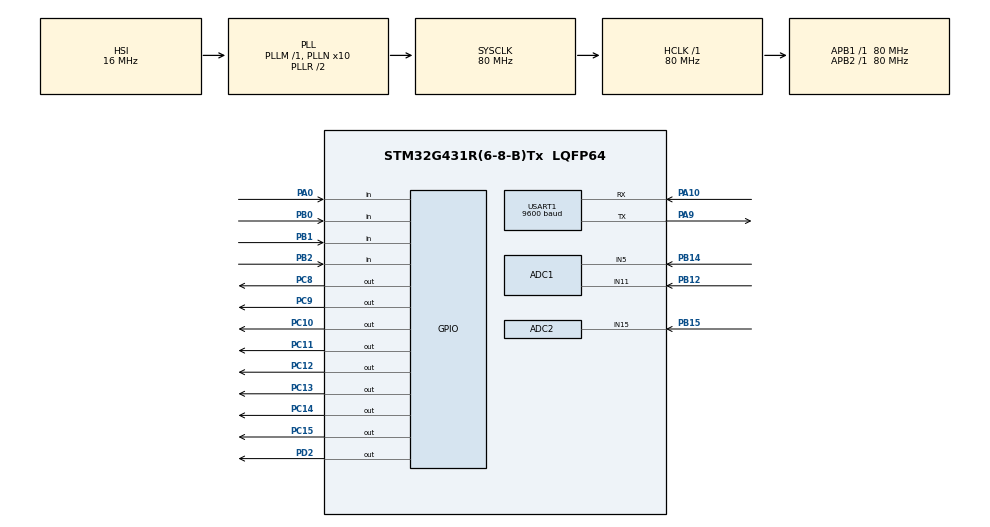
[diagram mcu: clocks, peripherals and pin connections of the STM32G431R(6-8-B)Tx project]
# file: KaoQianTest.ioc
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ADC1.Channel-1\#ChannelRegularConversion=ADC_CHANNEL_5
ADC1.Channel-2\#ChannelRegularConversion=ADC_CHANNEL_11
ADC1.NbrOfConversion=2
ADC1.NbrOfConversionFlag=1
ADC1.OffsetNumber-1\#ChannelRegularConversion=ADC_OFFSET_NONE
ADC1.OffsetNumber-2\#ChannelRegularConversion=ADC_OFFSET_NONE
ADC1.Rank-1\#ChannelRegularConversion=1
ADC1.Rank-2\#ChannelRegularConversion=2
ADC1.SamplingTime-1\#ChannelRegularConversion=ADC_SAMPLETIME_640CYCLES_5
ADC1.SamplingTime-2\#ChannelRegularConversion=ADC_SAMPLETIME_640CYCLES_5
ADC1.master=1
ADC2.Channel-0\#ChannelRegularConversion=ADC_CHANNEL_15
ADC2.NbrOfConversionFlag=1
ADC2.OffsetNumber-0\#ChannelRegularConversion=ADC_OFFSET_NONE
ADC2.Rank-0\#ChannelRegularConversion=1
ADC2.SamplingTime-0\#ChannelRegularConversion=ADC_SAMPLETIME_2CYCLES_5
Mcu.Family=STM32G4
Mcu.Name=STM32G431R(6-8-B)Tx
Mcu.Package=LQFP64
NVIC.PriorityGroup=NVIC_PRIORITYGROUP_4
NVIC.USART1_IRQn=true\:0\:0\:false\:false\:true\:true\:true
PA0.Signal=GPIO_Input
PA10.Mode=Asynchronous
PA10.Signal=USART1_RX
PA13.Mode=Serial_Wire
PA13.Signal=SYS_JTMS-SWDIO
PA14.Mode=Serial_Wire
PA14.Signal=SYS_JTCK-SWCLK
PA9.Mode=Asynchronous
PA9.Signal=USART1_TX
PB0.Signal=GPIO_Input
PB1.Signal=GPIO_Input
PB12.Mode=IN11-Single-Ended
PB12.Signal=ADC1_IN11
PB14.Mode=IN5-Single-Ended
PB14.Signal=ADC1_IN5
PB15.Mode=IN15-Single-Ended
PB15.Signal=ADC2_IN15
PB2.Signal=GPIO_Input
PC10.Signal=GPIO_Output
PC11.Signal=GPIO_Output
PC12.Signal=GPIO_Output
PC13.Signal=GPIO_Output
PC14-OSC32_IN.Signal=GPIO_Output
PC15-OSC32_OUT.Signal=GPIO_Output
PC8.Signal=GPIO_Output
PC9.Signal=GPIO_Output
PD2.Signal=GPIO_Output
PF0-OSC_IN.Mode=HSE-External-Oscillator
PF0-OSC_IN.Signal=RCC_OSC_IN
PF1-OSC_OUT.Mode=HSE-External-Oscillator
PF1-OSC_OUT.Signal=RCC_OSC_OUT
ProjectManager.HeapSize=0x200
ProjectManager.StackSize=0x400
ProjectManager.TargetToolchain=MDK-ARM V5
RCC.ADC12Freq_Value=80000000
RCC.AHBFreq_Value=80000000
RCC.APB1Freq_Value=80000000
RCC.APB1TimFreq_Value=80000000
RCC.APB2Freq_Value=80000000
RCC.APB2TimFreq_Value=80000000
RCC.CortexFreq_Value=80000000
RCC.EXTERNAL_CLOCK_VALUE=12288000
RCC.HCLKFreq_Value=80000000
RCC.HSE_VALUE=24000000
RCC.HSI48_VALUE=48000000
RCC.HSI_VALUE=16000000
RCC.LSE_VALUE=32768
RCC.PLLN=10
RCC.SYSCLKFreq_VALUE=80000000
RCC.SYSCLKSource=RCC_SYSCLKSOURCE_PLLCLK
RCC.USBFreq_Value=80000000
RCC.VCOOutputFreq_Value=160000000
USART1.BaudRate=9600
USART1.VirtualMode-Asynchronous=VM_ASYNC
VP_SYS_VS_DBSignals.Mode=DisableDeadBatterySignals
board=custom

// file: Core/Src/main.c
/* USER CODE BEGIN Header */
/**
  ******************************************************************************
  * @file           : main.c
  * @brief          : Main program body
  ******************************************************************************
  * @attention
  *
  * <h2><center>&copy; Copyright (c) 2023 STMicroelectronics.
  * All rights reserved.</center></h2>
  *
  * This software component is licensed by ST under BSD 3-Clause license,
  * the "License"; You may not use this file except in compliance with the
  * License. You may obtain a copy of the License at:
  *                        opensource.org/licenses/BSD-3-Clause
  *
  ******************************************************************************
  */
/* USER CODE END Header */
#include "main.h"
#include "adc.h"
#include "usart.h"
#include "gpio.h"

/* USER CODE BEGIN Includes */
#include "lcd.h"
#include "i2c_hal.h"
#include "stdio.h"
#include "string.h"
/* USER CODE END Includes */

/* USER CODE BEGIN PD */
#define KEY1 HAL_GPIO_ReadPin(GPIOB,GPIO_PIN_0)
#define KEY2 HAL_GPIO_ReadPin(GPIOB,GPIO_PIN_1)
#define KEY3 HAL_GPIO_ReadPin(GPIOB,GPIO_PIN_2)
#define KEY4 HAL_GPIO_ReadPin(GPIOA,GPIO_PIN_0)
/* USER CODE END PD */

/* USER CODE BEGIN PV */
u8 key_val,key_down,key_up,key_old;
double ao0, ao1, ao2;
u8 sta_lcd;
u8 ptr[30];

unsigned char tx[21],rx,rx_buf[21],dex;//串口相关变量

u8 tc[128];
u8 tcs = 0;

u8 led_in;
u8 e2prom[5];//EEPROM存储数组

/* USER CODE END PV */

void SystemClock_Config(void);

/* USER CODE BEGIN 0 */
u8 key_scan()
{
	if((KEY1 == 0)||(KEY2 == 0)||(KEY3 == 0)||(KEY4 == 0))
	{
		HAL_Delay(10);
		if(KEY1 == 0) return 1;
		else if(KEY2 == 0) return 2;
		else if(KEY3 == 0) return 3;
		else if(KEY4 == 0) return 4;
	}return 0;
}

void led_dis(u8 led)
{
	HAL_GPIO_WritePin(GPIOC,0xff00,GPIO_PIN_SET);
	HAL_GPIO_WritePin(GPIOD,GPIO_PIN_2,GPIO_PIN_SET);
	HAL_GPIO_WritePin(GPIOD,GPIO_PIN_2,GPIO_PIN_RESET);

	HAL_GPIO_WritePin(GPIOC,led<<8,GPIO_PIN_RESET);
	HAL_GPIO_WritePin(GPIOD,GPIO_PIN_2,GPIO_PIN_SET);
	HAL_GPIO_WritePin(GPIOD,GPIO_PIN_2,GPIO_PIN_RESET);
}

void key_Proc()
{
	static __IO uint32_t Key_Tick,DKey_Tick;

	if(uwTick - Key_Tick < 50)
		return;

	Key_Tick = uwTick;

	key_val = key_scan();
	key_down = key_val&(key_val^key_old);
	key_up = ~key_val&(key_val^key_old);
	key_old = key_val;

	if(key_down != 0)
		DKey_Tick=uwTick;

	if(uwTick - DKey_Tick > 1000)
	{
		switch(key_up)
		{
			case 1:
				led_in |= 0x40;
				break;
			case 4:
				led_in |= 0x80;
			break;
		}
	}else
	{
		switch (key_up)
		{
			case 1:
			{
				led_in = 0x00;
				break;
			}
			case 2:
			{
				led_in |= 0x01;
				break;
			}
			case 3:
			{
				led_in |= 0x02;
				break;
			}
			case 4:
			{
				led_in |= 0x08;
				break;
			}
		}
	}
}

void lcd_Proc()
{
	if(!sta_lcd)
	{
		sprintf((char*)ptr,"    local Plat   ");
		LCD_DisplayStringLine(Line1,(u8*)ptr);

		sprintf((char*)ptr,"  %.2lf", ao0);
		LCD_DisplayStringLine(Line3,(u8*)ptr);
		sprintf((char*)ptr,"  %.2lf", ao1);
		LCD_DisplayStringLine(Line4,(u8*)ptr);
		sprintf((char*)ptr,"  %.2lf", ao2);
		LCD_DisplayStringLine(Line5,(u8*)ptr);
	}else{
		sprintf((char*)ptr,"");
		LCD_DisplayStringLine(Line0,(u8*)ptr);
	}
}

void led_Proc()
{

	led_dis(led_in);
}

void getADC1(void)
{
	uint16_t adc = 0;
	HAL_ADC_Start(&hadc1);
	adc = HAL_ADC_GetValue(&hadc1);
	ao0 = (3.3 * adc)/4096;

	HAL_ADC_Start(&hadc1);
	adc = HAL_ADC_GetValue(&hadc1);
	ao1 = (3.3 * adc)/4096;
}

void getADC2(void)
{
	uint16_t adc = 0;
	HAL_ADC_Start(&hadc2);
	adc = HAL_ADC_GetValue(&hadc2);
	ao2 = (3.3 * adc)/4096;
}

unsigned char isRxCplt()
{
	if(dex==0)
		return 0;
	else if((dex==1)&&(rx_buf[0]=='X'))
		return 1;
	else if((dex==1)&&(rx_buf[0]=='Y'))
		return 2;
	else if((dex==3)&&(rx_buf[0]=='P')&&(rx_buf[1]=='A')&&(rx_buf[2]=='1'))//接收到3位数据 且该数据为PA1
		return 3;
	else//接收到其他数据
		return 7;
}

void Uart_Proc()
{
	static __IO uint32_t Uart_Tick;

	if(uwTick-Uart_Tick<50)
		return;
	Uart_Tick=uwTick;

	if(isRxCplt()==1)//返回当前频率参数
	{
		sprintf((char*)tx,"X:%d\r\n",dex);
		HAL_UART_Transmit(&huart1,tx,sizeof(tx),50);
	}
	else if(isRxCplt()==2)//返回当前电压参数
	{
		sprintf((char*)tx,"Y:%d\r\n",dex);
		HAL_UART_Transmit(&huart1,tx,sizeof(tx),50);
	}

	dex=0;//串口缓冲数组索引清零
}

void HAL_UART_RxCpltCallback(UART_HandleTypeDef *huart)
{
	rx_buf[dex++]=rx;//一位一位存入缓存数组，索引＋1
	HAL_UART_Receive_IT(&huart1,&rx,1);//重新开启接收中断
}

/* USER CODE END 0 */

int main(void)
{

  /* MCU Configuration--------------------------------------------------------*/

  /* Reset of all peripherals, Initializes the Flash interface and the Systick. */
  HAL_Init();

  /* Configure the system clock */
  SystemClock_Config();

  /* Initialize all configured peripherals */
  MX_GPIO_Init();
  MX_ADC1_Init();
  MX_ADC2_Init();
  MX_USART1_UART_Init();
  /* USER CODE BEGIN 2 */
	I2CInit();
	LCD_Init();
	LCD_SetBackColor(Black);
	LCD_SetTextColor(White);
	LCD_Clear(Black);
	led_dis(0);
	HAL_UART_Receive_IT(&huart1,&rx,1);
  /* USER CODE END 2 */

  /* Infinite loop */
  while (1)
  {

    /* USER CODE BEGIN 3 */
		sprintf((char*)ptr,"  %s", rx_buf);
		LCD_DisplayStringLine(Line6,(u8*)ptr);
		getADC1();
		getADC2();
		key_Proc();
		lcd_Proc();
		led_Proc();
		Uart_Proc();
  }
  /* USER CODE END 3 */
}

void SystemClock_Config(void)
{
  RCC_OscInitTypeDef RCC_OscInitStruct = {0};
  RCC_ClkInitTypeDef RCC_ClkInitStruct = {0};
  RCC_PeriphCLKInitTypeDef PeriphClkInit = {0};

  /** Configure the main internal regulator output voltage
  */
  HAL_PWREx_ControlVoltageScaling(PWR_REGULATOR_VOLTAGE_SCALE1);
  /** Initializes the RCC Oscillators according to the specified parameters
  * in the RCC_OscInitTypeDef structure.
  */
  RCC_OscInitStruct.OscillatorType = RCC_OSCILLATORTYPE_HSI;
  RCC_OscInitStruct.HSIState = RCC_HSI_ON;
  RCC_OscInitStruct.HSICalibrationValue = RCC_HSICALIBRATION_DEFAULT;
  RCC_OscInitStruct.PLL.PLLState = RCC_PLL_ON;
  RCC_OscInitStruct.PLL.PLLSource = RCC_PLLSOURCE_HSI;
  RCC_OscInitStruct.PLL.PLLM = RCC_PLLM_DIV1;
  RCC_OscInitStruct.PLL.PLLN = 10;
  RCC_OscInitStruct.PLL.PLLP = RCC_PLLP_DIV2;
  RCC_OscInitStruct.PLL.PLLQ = RCC_PLLQ_DIV2;
  RCC_OscInitStruct.PLL.PLLR = RCC_PLLR_DIV2;
  if (HAL_RCC_OscConfig(&RCC_OscInitStruct) != HAL_OK)
  {
    Error_Handler();
  }
  /** Initializes the CPU, AHB and APB buses clocks
  */
  RCC_ClkInitStruct.ClockType = RCC_CLOCKTYPE_HCLK|RCC_CLOCKTYPE_SYSCLK
                              |RCC_CLOCKTYPE_PCLK1|RCC_CLOCKTYPE_PCLK2;
  RCC_ClkInitStruct.SYSCLKSource = RCC_SYSCLKSOURCE_PLLCLK;
  RCC_ClkInitStruct.AHBCLKDivider = RCC_SYSCLK_DIV1;
  RCC_ClkInitStruct.APB1CLKDivider = RCC_HCLK_DIV1;
  RCC_ClkInitStruct.APB2CLKDivider = RCC_HCLK_DIV1;

  if (HAL_RCC_ClockConfig(&RCC_ClkInitStruct, FLASH_LATENCY_2) != HAL_OK)
  {
    Error_Handler();
  }
  /** Initializes the peripherals clocks
  */
  PeriphClkInit.PeriphClockSelection = RCC_PERIPHCLK_USART1|RCC_PERIPHCLK_ADC12;
  PeriphClkInit.Usart1ClockSelection = RCC_USART1CLKSOURCE_PCLK2;
  PeriphClkInit.Adc12ClockSelection = RCC_ADC12CLKSOURCE_SYSCLK;
  if (HAL_RCCEx_PeriphCLKConfig(&PeriphClkInit) != HAL_OK)
  {
    Error_Handler();
  }
}

void Error_Handler(void)
{
  __disable_irq();
  while (1)
  {
  }
}

/************************ (C) COPYRIGHT STMicroelectronics *****END OF FILE****/
